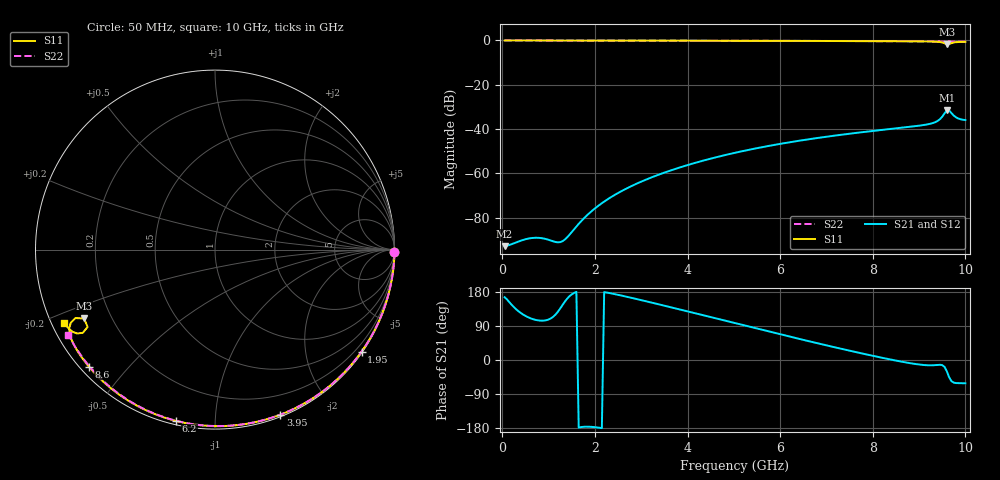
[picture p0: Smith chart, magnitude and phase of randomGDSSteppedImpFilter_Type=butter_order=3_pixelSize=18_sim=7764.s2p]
! freq	dB(S11)	phase(S11)	dB(S12)	phase(S12)
!  dB(S21)	phase(S21)	dB(S22)	phase(S22)
!S-par simulation data
#  GHz  S  DB  R 50
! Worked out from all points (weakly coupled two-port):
!   200 points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, 50 MHz to 10 GHz, reference 50 ohm
!   highest |S21| = -31.58 dB at 9.6 GHz (marker M1); lowest = -92.8 dB at 50 MHz (marker M2)
!   lowest |S11| = -1.7 dB at 9.6 GHz (marker M3), VSWR 10.38, Z = 5.11 - j12.2 ohm
!   |S11| at or under -10 dB: nowhere
!   |S22| runs from -0.5 to 0.0 dB; largest |S21 - S12| = 0
!   S11 on the Smith chart (normalised r, x): 50 MHz: open; 1.95 GHz: 0.03, -3.19; 3.95 GHz: 0.02, -1.47; 6.2 GHz: 0.02, -0.80; 8.6 GHz: 0.02, -0.39; 10 GHz: 0.04, -0.23
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0.05  -0.00 -0.9  -92.84 165.7  -92.84 165.7  -0.00 -0.9
0.85  -0.02 -15.4  -89.22 103.7  -89.22 103.7  -0.02 -14.6
1.75  -0.04 -31.3  -80.54 -176.3  -80.54 -176.3  -0.04 -29.8
1.95  -0.04 -34.8  -76.67 -176.6  -76.67 -176.6  -0.04 -33.1
2.25  -0.05 -40.0  -72.02 178.1  -72.02 178.1  -0.05 -38.1
2.55  -0.06 -45.2  -68.27 170.7  -68.27 170.7  -0.06 -43.0
2.95  -0.07 -51.9  -64.18 159.5  -64.18 159.5  -0.06 -49.4
3.4  -0.08 -59.4  -60.40 146.3  -60.40 146.3  -0.08 -56.6
3.95  -0.09 -68.4  -56.56 129.9  -56.56 129.9  -0.09 -65.2
5.05  -0.13 -85.6  -50.58 96.6  -50.58 96.6  -0.13 -81.7
6.2  -0.18 -102.8  -45.96 61.9  -45.96 61.9  -0.18 -98.3
6.7  -0.21 -110.0  -44.34 47.2  -44.34 47.2  -0.21 -105.3
8.35  -0.34 -133.5  -40.02 2.1  -40.02 2.1  -0.33 -127.7
8.6  -0.37 -137.1  -39.45 -3.9  -39.45 -3.9  -0.35 -131.0
9.1  -0.44 -144.8  -38.17 -13.2  -38.17 -13.2  -0.40 -137.7
9.35  -0.56 -149.4  -36.87 -13.6  -36.87 -13.6  -0.43 -141.1
9.5  -0.90 -153.1  -34.40 -13.5  -34.40 -13.5  -0.45 -143.1
9.6  -1.68 -152.3  -31.58 -30.1  -31.58 -30.1  -0.45 -144.4
9.65  -1.62 -148.7  -31.65 -45.8  -31.65 -45.8  -0.45 -145.1
9.75  -0.92 -148.7  -33.93 -59.8  -33.93 -59.8  -0.47 -146.5
9.85  -0.69 -151.1  -35.25 -61.1  -35.25 -61.1  -0.48 -147.9
10  -0.60 -154.1  -35.91 -61.5  -35.91 -61.5  -0.50 -149.9
